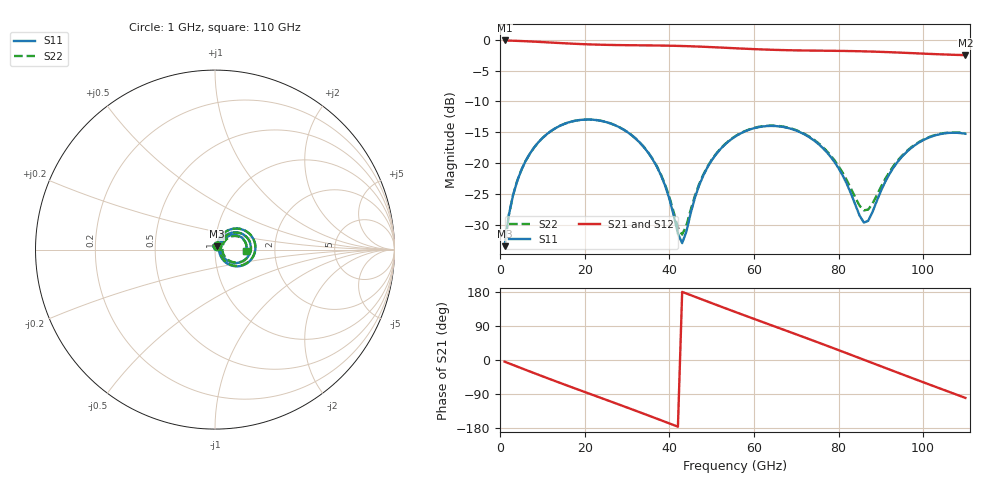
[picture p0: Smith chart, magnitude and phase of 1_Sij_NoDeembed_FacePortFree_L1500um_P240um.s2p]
! Touchstone file exported from HFSS 2024.2.0
!  File:  C:/Users/vaintrug/Documents/Ansoft_Workspace/Comparaison_Calculs_HFSS/1_VarPort.aedt
!  Generated:  03:22:17 PM Jan 21, 2025
!  Design:  1_NoDeembed_FacePortFree
!  Project:  1_VarPort
!  Setup:  Setup1
!  Solution:  Sweep
! Variables:
!  $Lenght = 1500um
!  $PortSize = 240um
!  Gap = 30um
!  Th = 2um
!  X_centralStrip = 20um
!  X_masse = 200um
!  Y_Sub = 1.5mm
!  Z_Box = 400um
!  Z_Sub = 200um
# GHz S MA R 50.000000
! Terminal data exported
! Port[1] = 1
! Port[2] = 2
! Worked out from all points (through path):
!   110 points, 1 GHz to 110 GHz, reference 50 ohm
!   highest |S21| = -0.10 dB at 1 GHz (marker M1); lowest = -2.5 dB at 110 GHz (marker M2)
!   group delay of S21, straight-line fit = 11.6 ps
!   lowest |S11| = -33.5 dB at 1 GHz (marker M3), VSWR 1.04, Z = 50.9 + j1.92 ohm
!   |S11| at or under -10 dB: start of sweep to end of sweep
!   |S22| runs from -33.5 to -12.9 dB; largest |S21 - S12| = 1.6e-14
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1  0.02115 63.0  0.9891 -4.4  0.9891 -4.4  0.02115 63.0
! Gamma 5.90029984881492 49.9570384371748 5.80414919187434 49.8458337514612
! Port Impedance 50 0 50 0
2  0.03788 69.8  0.9865 -8.8  0.9865 -8.8  0.03788 69.8
3  0.05496 70.0  0.984 -13.1  0.984 -13.1  0.05496 70.1
7  0.1196 58.4  0.9712 -30.4  0.9712 -30.4  0.1196 58.5
14  0.2 31.2  0.9427 -59.9  0.9427 -59.9  0.2 31.4
20  0.2254 7.8  0.922 -84.6  0.922 -84.6  0.2255 8.2
29  0.188 -25.7  0.9062 -121.4  0.9062 -121.4  0.1883 -24.9
34  0.1339 -42.6  0.9025 -142.2  0.9025 -142.2  0.1345 -41.2
38  0.07938 -51.8  0.8991 -159.0  0.8991 -159.0  0.08041 -49.2
43  0.02237 4.5  0.8915 179.8  0.8915 179.8  0.02628 4.5
46  0.05204 54.4  0.8846 167.0  0.8846 167.0  0.05402 50.9
49  0.09251 54.0  0.8761 154.3  0.8761 154.3  0.09377 51.9
56  0.1678 33.4  0.8534 125.0  0.8534 125.0  0.1687 32.6
65  0.1998 2.1  0.8295 88.1  0.8295 88.1  0.201 2.2
74  0.1542 -27.8  0.8183 51.1  0.8183 51.1  0.1563 -26.4
80  0.09079 -41.6  0.8139 26.0  0.8139 26.0  0.09436 -38.1
86  0.03288 -3.1  0.8067 0.6  0.8067 0.6  0.04125 -3.1
87  0.03394 16.7  0.805 -3.6  0.805 -3.6  0.04195 12.0
92  0.08114 47.9  0.7944 -24.9  0.7944 -24.9  0.08435 41.9
96  0.1222 41.2  0.7841 -41.8  0.7841 -41.8  0.1241 37.1
101  0.1592 26.8  0.7708 -62.7  0.7708 -62.7  0.1605 23.9
110  0.173 -1.9  0.7517 -100.0  0.7517 -100.0  0.174 -3.5
